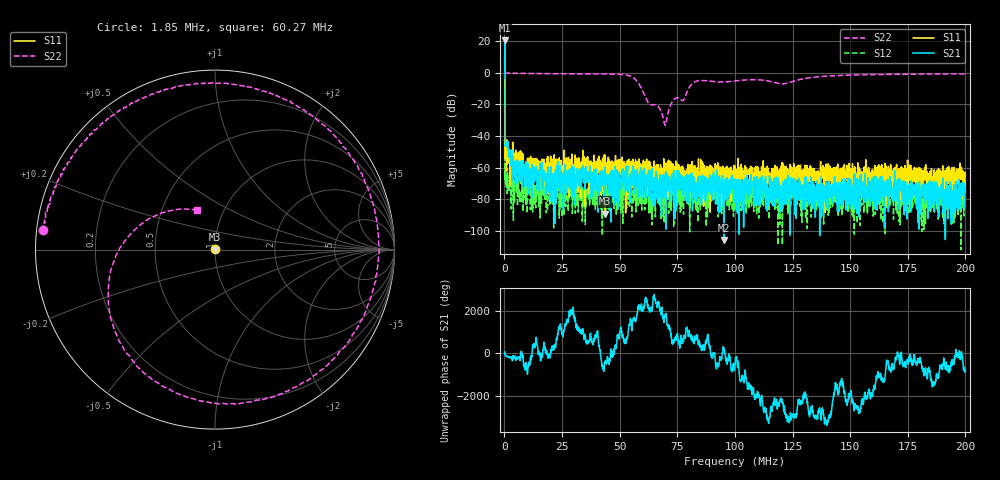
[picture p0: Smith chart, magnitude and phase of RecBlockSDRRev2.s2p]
! 19-Feb-26 3:21:29 PM
! E:\VNA_MEASUREMENTS\RECBLOCK\RECBLOCKSDRREV2.S2P
! CHANNEL.1
! TR.MEASUREMENT
! CORRECTED.DATA
# GHZ S RI R 50.0
! FREQ.GHZ  S11RE  S11IM  S21RE  S21IM  S12RE  S12IM  S22RE  S22IM
!; PortSelection: Port_12
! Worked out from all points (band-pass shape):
!   2000 points, 50 kHz to 200 MHz, reference 50 ohm
!   highest |S21| = 20.39 dB at 250 kHz (marker M1); lowest = -105.7 dB at 95.27 MHz (marker M2)
!   |S21| within 3 dB of the highest: 235.6 kHz to 254.6 kHz (19 kHz wide, 7.75 % of centre)
!   lowest |S11| = -89.0 dB at 43.76 MHz (marker M3), VSWR 1.00, Z = 50 - j0.00149 ohm
!   |S11| at or under -10 dB: start of sweep to 126.6 kHz; 261.8 kHz to end of sweep
!   |S22| runs from -33.4 to -0.3 dB; largest |S21 - S12| = 10
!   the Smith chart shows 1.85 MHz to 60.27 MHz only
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5e-05  0.00877 0.3096  0.4881 2.694  -0.00247 0.00774  -0.9619 -0.0307
0.00025005  0.5622 0.2777  10.35 1.468  -0.000209 0.00134  -0.9708 0.0246
0.001350325  -0.00112 -0.000697  -0.00503 -0.00294  0.000692 -8.17e-05  -0.962 0.0781
0.004251051  -0.00146 -0.000221  -0.000463 0.000846  -0.00021 -0.000141  -0.9317 0.2395
0.03345835  8.78e-05 0.000736  -0.000981 -6.93e-05  -0.000201 -0.000134  0.55 0.7388
0.04376093  3.23e-05 -1.49e-05  8e-06 -0.000102  -0.000168 4.2e-05  0.9039 -0.1152
0.05156288  0.000794 0.000477  0.000918 -0.000175  3.62e-05 0.000167  0.1707 -0.8525
0.05606401  0.000505 -4.95e-05  -0.000424 -2.97e-05  -0.000372 0.000101  -0.5869 -0.3502
0.06676668  0.000233 0.000685  3.19e-05 -0.000133  4.99e-05 -4.67e-05  -0.0152 -0.0831
0.06986746  0.000424 -0.00134  0.000219 7.89e-05  9.24e-05 2.7e-05  0.00783 -0.0207
0.08447111  -0.000182 -0.000279  -0.000156 -4.18e-05  8.31e-05 -0.000113  -0.5567 0.0817
0.08937234  5.96e-05 0.000557  8.8e-06 0.000145  0.000222 -0.000125  0.0468 0.538
0.09527381  -0.000142 9.66e-05  -5.2e-06 -3e-07  -0.000208 -4.8e-06  0.4754 -0.1859
0.100075  -4.05e-05 -0.000456  -0.000362 -5.6e-05  3e-05 0.000128  -0.1306 -0.532
0.1103776  0.000239 0.000336  -0.000202 0.000304  -1.43e-05 2.08e-05  -0.1632 0.5687
0.116079  -0.000839 -0.000448  -0.000293 0.000211  -6.35e-05 3.04e-05  0.5061 0.1138
0.1207802  -4.58e-05 -0.00135  -0.000338 -0.000103  0.000274 4.71e-05  -0.0241 -0.4453
0.1257814  -0.000435 -0.000118  0.000409 3.34e-05  0.000179 0.000156  -0.5254 0.1559
0.1333833  -8e-07 4.88e-05  5.47e-05 -4.19e-05  2.11e-05 0.000128  0.1767 0.6877
0.1460865  -0.000461 -0.000652  -0.000246 0.000133  3.76e-05 3.26e-05  0.8197 -0.037
0.1666917  5.67e-05 -0.00024  3.02e-05 0.000284  0.00022 7.28e-05  0.2523 -0.8465
0.2  -0.000181 -1.96e-05  -3.56e-05 -0.000173  0.000187 -9.27e-05  -0.6936 -0.5927
